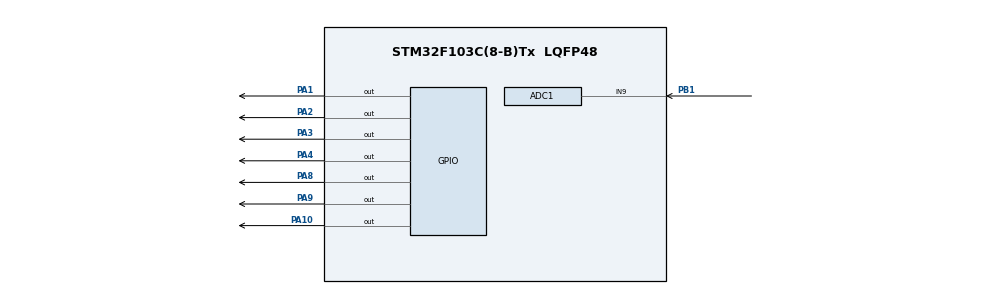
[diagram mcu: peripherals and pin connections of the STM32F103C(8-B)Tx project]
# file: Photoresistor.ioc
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ADC1.Channel-0\#ChannelRegularConversion=ADC_CHANNEL_9
ADC1.ContinuousConvMode=ENABLE
ADC1.NbrOfConversionFlag=1
ADC1.Rank-0\#ChannelRegularConversion=1
ADC1.SamplingTime-0\#ChannelRegularConversion=ADC_SAMPLETIME_1CYCLE_5
ADC1.master=1
Mcu.Family=STM32F1
Mcu.Name=STM32F103C(8-B)Tx
Mcu.Package=LQFP48
NVIC.PriorityGroup=NVIC_PRIORITYGROUP_4
PA1.Signal=GPIO_Output
PA10.Signal=GPIO_Output
PA13.Mode=Serial_Wire
PA13.Signal=SYS_JTMS-SWDIO
PA14.Mode=Serial_Wire
PA14.Signal=SYS_JTCK-SWCLK
PA2.Signal=GPIO_Output
PA3.Signal=GPIO_Output
PA4.Signal=GPIO_Output
PA8.Signal=GPIO_Output
PA9.Signal=GPIO_Output
PB1.Signal=ADCx_IN9
ProjectManager.HeapSize=0x200
ProjectManager.StackSize=0x400
ProjectManager.TargetToolchain=STM32CubeIDE
RCC.APB1Freq_Value=8000000
RCC.APB2Freq_Value=8000000
SH.ADCx_IN9.0=ADC1_IN9,IN9
board=custom

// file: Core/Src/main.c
/* USER CODE BEGIN Header */
/**
  ******************************************************************************
  * @file           : main.c
  * @brief          : Main program body
  ******************************************************************************
  * @attention
  *
  * Copyright (c) 2022 STMicroelectronics.
  * All rights reserved.
  *
  * This software is licensed under terms that can be found in the LICENSE file
  * in the root directory of this software component.
  * If no LICENSE file comes with this software, it is provided AS-IS.
  *
  ******************************************************************************
  */
/* USER CODE END Header */
#include "main.h"

ADC_HandleTypeDef hadc1;

void SystemClock_Config(void);
static void MX_GPIO_Init(void);
static void MX_ADC1_Init(void);

int main(void)
{

  /* MCU Configuration--------------------------------------------------------*/

  /* Reset of all peripherals, Initializes the Flash interface and the Systick. */
  HAL_Init();

  /* Configure the system clock */
  SystemClock_Config();

  /* Initialize all configured peripherals */
  MX_GPIO_Init();
  MX_ADC1_Init();
  /* USER CODE BEGIN 2 */
	uint16_t readValue;
	HAL_ADC_Start(&hadc1);
  /* USER CODE END 2 */

  /* Infinite loop */
  /* USER CODE BEGIN WHILE */
  while (1)
  {
	HAL_ADC_PollForConversion(&hadc1, 1000);
	readValue = HAL_ADC_GetValue(&hadc1);

	if (readValue < 10) {
		HAL_GPIO_WritePin(GPIOA, GPIO_PIN_1, 0);
		HAL_GPIO_WritePin(GPIOA, GPIO_PIN_2, 1);
		HAL_GPIO_WritePin(GPIOA, GPIO_PIN_3, 1);
		HAL_GPIO_WritePin(GPIOA, GPIO_PIN_4, 1);
		HAL_GPIO_WritePin(GPIOA, GPIO_PIN_8, 1);
		HAL_GPIO_WritePin(GPIOA, GPIO_PIN_9, 1);
		HAL_GPIO_WritePin(GPIOA, GPIO_PIN_10, 1);
	} else if (readValue < 80) {
		HAL_GPIO_WritePin(GPIOA, GPIO_PIN_1, 0);
		HAL_GPIO_WritePin(GPIOA, GPIO_PIN_2, 0);
		HAL_GPIO_WritePin(GPIOA, GPIO_PIN_3, 0);
		HAL_GPIO_WritePin(GPIOA, GPIO_PIN_4, 1);
		HAL_GPIO_WritePin(GPIOA, GPIO_PIN_8, 1);
		HAL_GPIO_WritePin(GPIOA, GPIO_PIN_9, 0);
		HAL_GPIO_WritePin(GPIOA, GPIO_PIN_10, 0);
	} else if (readValue < 150) {
		HAL_GPIO_WritePin(GPIOA, GPIO_PIN_1, 1);
		HAL_GPIO_WritePin(GPIOA, GPIO_PIN_2, 0);
		HAL_GPIO_WritePin(GPIOA, GPIO_PIN_3, 1);
		HAL_GPIO_WritePin(GPIOA, GPIO_PIN_4, 1);
		HAL_GPIO_WritePin(GPIOA, GPIO_PIN_8, 0);
		HAL_GPIO_WritePin(GPIOA, GPIO_PIN_9, 1);
		HAL_GPIO_WritePin(GPIOA, GPIO_PIN_10, 1);
	} else if (readValue < 200) {
		HAL_GPIO_WritePin(GPIOA, GPIO_PIN_1, 1);
		HAL_GPIO_WritePin(GPIOA, GPIO_PIN_2, 0);
		HAL_GPIO_WritePin(GPIOA, GPIO_PIN_3, 1);
		HAL_GPIO_WritePin(GPIOA, GPIO_PIN_4, 1);
		HAL_GPIO_WritePin(GPIOA, GPIO_PIN_8, 1);
		HAL_GPIO_WritePin(GPIOA, GPIO_PIN_9, 1);
		HAL_GPIO_WritePin(GPIOA, GPIO_PIN_10, 0);
	} else if (readValue < 250) {
		HAL_GPIO_WritePin(GPIOA, GPIO_PIN_1, 1);
		HAL_GPIO_WritePin(GPIOA, GPIO_PIN_2, 1);
		HAL_GPIO_WritePin(GPIOA, GPIO_PIN_3, 0);
		HAL_GPIO_WritePin(GPIOA, GPIO_PIN_4, 1);
		HAL_GPIO_WritePin(GPIOA, GPIO_PIN_8, 1);
		HAL_GPIO_WritePin(GPIOA, GPIO_PIN_9, 0);
		HAL_GPIO_WritePin(GPIOA, GPIO_PIN_10, 0);
	} else if (readValue < 300) {
		HAL_GPIO_WritePin(GPIOA, GPIO_PIN_1, 1);
		HAL_GPIO_WritePin(GPIOA, GPIO_PIN_2, 1);
		HAL_GPIO_WritePin(GPIOA, GPIO_PIN_3, 1);
		HAL_GPIO_WritePin(GPIOA, GPIO_PIN_4, 0);
		HAL_GPIO_WritePin(GPIOA, GPIO_PIN_8, 1);
		HAL_GPIO_WritePin(GPIOA, GPIO_PIN_9, 1);
		HAL_GPIO_WritePin(GPIOA, GPIO_PIN_10, 0);
	} else if (readValue > 1800) {
		HAL_GPIO_WritePin(GPIOA, GPIO_PIN_1, 1);
		HAL_GPIO_WritePin(GPIOA, GPIO_PIN_2, 1);
		HAL_GPIO_WritePin(GPIOA, GPIO_PIN_3, 1);
		HAL_GPIO_WritePin(GPIOA, GPIO_PIN_4, 0);
		HAL_GPIO_WritePin(GPIOA, GPIO_PIN_8, 1);
		HAL_GPIO_WritePin(GPIOA, GPIO_PIN_9, 1);
		HAL_GPIO_WritePin(GPIOA, GPIO_PIN_10, 1);
	} else if (readValue < 400) {
		HAL_GPIO_WritePin(GPIOA, GPIO_PIN_1, 0);
		HAL_GPIO_WritePin(GPIOA, GPIO_PIN_2, 0);
		HAL_GPIO_WritePin(GPIOA, GPIO_PIN_3, 1);
		HAL_GPIO_WritePin(GPIOA, GPIO_PIN_4, 1);
		HAL_GPIO_WritePin(GPIOA, GPIO_PIN_8, 1);
		HAL_GPIO_WritePin(GPIOA, GPIO_PIN_9, 0);
		HAL_GPIO_WritePin(GPIOA, GPIO_PIN_10, 0);
	} else if (readValue < 500) {
		HAL_GPIO_WritePin(GPIOA, GPIO_PIN_1, 1);
		HAL_GPIO_WritePin(GPIOA, GPIO_PIN_2, 1);
		HAL_GPIO_WritePin(GPIOA, GPIO_PIN_3, 1);
		HAL_GPIO_WritePin(GPIOA, GPIO_PIN_4, 1);
		HAL_GPIO_WritePin(GPIOA, GPIO_PIN_8, 1);
		HAL_GPIO_WritePin(GPIOA, GPIO_PIN_9, 1);
		HAL_GPIO_WritePin(GPIOA, GPIO_PIN_10, 1);
	} else {
		HAL_GPIO_WritePin(GPIOA, GPIO_PIN_1, 1);
		HAL_GPIO_WritePin(GPIOA, GPIO_PIN_2, 1);
		HAL_GPIO_WritePin(GPIOA, GPIO_PIN_3, 1);
		HAL_GPIO_WritePin(GPIOA, GPIO_PIN_4, 1);
		HAL_GPIO_WritePin(GPIOA, GPIO_PIN_8, 1);
		HAL_GPIO_WritePin(GPIOA, GPIO_PIN_9, 1);
		HAL_GPIO_WritePin(GPIOA, GPIO_PIN_10, 0);
	}
	HAL_Delay(50);
	/* USER CODE END WHILE */

  }
}

void SystemClock_Config(void)
{
  RCC_OscInitTypeDef RCC_OscInitStruct = {0};
  RCC_ClkInitTypeDef RCC_ClkInitStruct = {0};
  RCC_PeriphCLKInitTypeDef PeriphClkInit = {0};

  /** Initializes the RCC Oscillators according to the specified parameters
  * in the RCC_OscInitTypeDef structure.
  */
  RCC_OscInitStruct.OscillatorType = RCC_OSCILLATORTYPE_HSI;
  RCC_OscInitStruct.HSIState = RCC_HSI_ON;
  RCC_OscInitStruct.HSICalibrationValue = RCC_HSICALIBRATION_DEFAULT;
  RCC_OscInitStruct.PLL.PLLState = RCC_PLL_NONE;
  if (HAL_RCC_OscConfig(&RCC_OscInitStruct) != HAL_OK)
  {
    Error_Handler();
  }

  /** Initializes the CPU, AHB and APB buses clocks
  */
  RCC_ClkInitStruct.ClockType = RCC_CLOCKTYPE_HCLK|RCC_CLOCKTYPE_SYSCLK
                              |RCC_CLOCKTYPE_PCLK1|RCC_CLOCKTYPE_PCLK2;
  RCC_ClkInitStruct.SYSCLKSource = RCC_SYSCLKSOURCE_HSI;
  RCC_ClkInitStruct.AHBCLKDivider = RCC_SYSCLK_DIV1;
  RCC_ClkInitStruct.APB1CLKDivider = RCC_HCLK_DIV1;
  RCC_ClkInitStruct.APB2CLKDivider = RCC_HCLK_DIV1;

  if (HAL_RCC_ClockConfig(&RCC_ClkInitStruct, FLASH_LATENCY_0) != HAL_OK)
  {
    Error_Handler();
  }
  PeriphClkInit.PeriphClockSelection = RCC_PERIPHCLK_ADC;
  PeriphClkInit.AdcClockSelection = RCC_ADCPCLK2_DIV2;
  if (HAL_RCCEx_PeriphCLKConfig(&PeriphClkInit) != HAL_OK)
  {
    Error_Handler();
  }
}

static void MX_ADC1_Init(void)
{

  ADC_ChannelConfTypeDef sConfig = {0};

  /** Common config
  */
  hadc1.Instance = ADC1;
  hadc1.Init.ScanConvMode = ADC_SCAN_DISABLE;
  hadc1.Init.ContinuousConvMode = ENABLE;
  hadc1.Init.DiscontinuousConvMode = DISABLE;
  hadc1.Init.ExternalTrigConv = ADC_SOFTWARE_START;
  hadc1.Init.DataAlign = ADC_DATAALIGN_RIGHT;
  hadc1.Init.NbrOfConversion = 1;
  if (HAL_ADC_Init(&hadc1) != HAL_OK)
  {
    Error_Handler();
  }

  /** Configure Regular Channel
  */
  sConfig.Channel = ADC_CHANNEL_9;
  sConfig.Rank = ADC_REGULAR_RANK_1;
  sConfig.SamplingTime = ADC_SAMPLETIME_1CYCLE_5;
  if (HAL_ADC_ConfigChannel(&hadc1, &sConfig) != HAL_OK)
  {
    Error_Handler();
  }

}

static void MX_GPIO_Init(void)
{
  GPIO_InitTypeDef GPIO_InitStruct = {0};

  /* GPIO Ports Clock Enable */
  __HAL_RCC_GPIOA_CLK_ENABLE();
  __HAL_RCC_GPIOB_CLK_ENABLE();

  /*Configure GPIO pin Output Level */
  HAL_GPIO_WritePin(GPIOA, GPIO_PIN_1|GPIO_PIN_2|GPIO_PIN_3|GPIO_PIN_4
                          |GPIO_PIN_8|GPIO_PIN_9|GPIO_PIN_10, GPIO_PIN_RESET);

  /*Configure GPIO pins : PA1 PA2 PA3 PA4
                           PA8 PA9 PA10 */
  GPIO_InitStruct.Pin = GPIO_PIN_1|GPIO_PIN_2|GPIO_PIN_3|GPIO_PIN_4
                          |GPIO_PIN_8|GPIO_PIN_9|GPIO_PIN_10;
  GPIO_InitStruct.Mode = GPIO_MODE_OUTPUT_PP;
  GPIO_InitStruct.Pull = GPIO_NOPULL;
  GPIO_InitStruct.Speed = GPIO_SPEED_FREQ_LOW;
  HAL_GPIO_Init(GPIOA, &GPIO_InitStruct);

}

void Error_Handler(void)
{
  __disable_irq();
  while (1)
  {
  }
}
